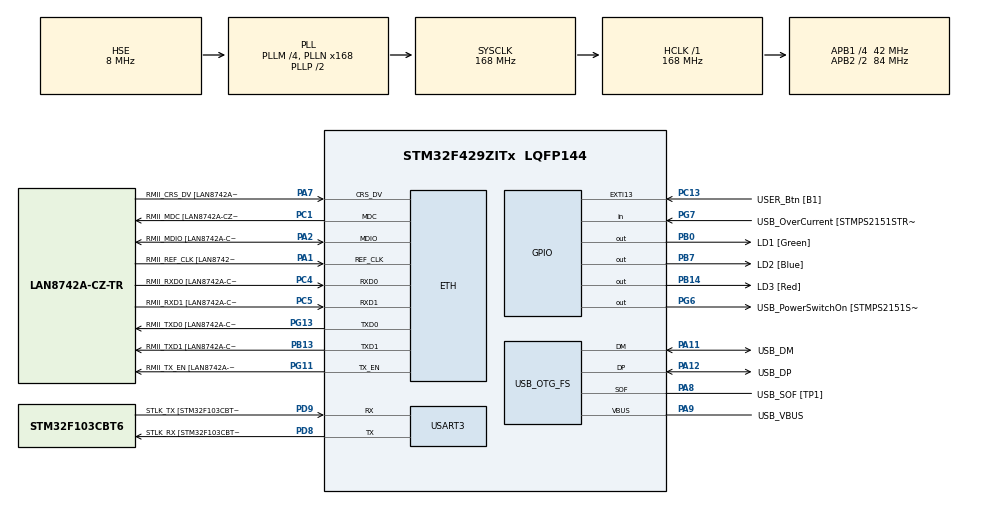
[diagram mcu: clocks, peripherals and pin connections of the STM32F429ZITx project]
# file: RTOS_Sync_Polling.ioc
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ETH.MediaInterface=HAL_ETH_RMII_MODE
ETH.PHY_Name=LAN8742A_PHY_ADDRESS
ETH.PHY_Value=0
ETH.PhyAddress=0
FREERTOS.BinarySemaphores01=myBinarySem01,Dynamic,NULL
FREERTOS.Tasks01=Task1,24,128,StartTask1,Default,NULL,Dynamic,NULL,NULL;Task2,24,128,StartTask2,Default,NULL,Dynamic,NULL,NULL
FREERTOS.configGENERATE_RUN_TIME_STATS=1
FREERTOS.configRECORD_STACK_HIGH_ADDRESS=1
FREERTOS.configUSE_NEWLIB_REENTRANT=1
FREERTOS.configUSE_STATS_FORMATTING_FUNCTIONS=1
Mcu.Family=STM32F4
Mcu.Name=STM32F429ZITx
Mcu.Package=LQFP144
NVIC.EXTI15_10_IRQn=true\:5\:0\:false\:false\:true\:true\:true\:true\:true
NVIC.PriorityGroup=NVIC_PRIORITYGROUP_4
NVIC.TIM2_IRQn=true\:15\:0\:false\:false\:true\:false\:false\:true\:true
NVIC.TimeBase=TIM2_IRQn
NVIC.TimeBaseIP=TIM2
PA1.GPIO_Label=RMII_REF_CLK [LAN8742A-CZ-TR_REFCLK0]
PA1.Mode=RMII
PA1.Signal=ETH_REF_CLK
PA10.GPIO_Label=USB_ID
PA10.Signal=USB_OTG_FS_ID
PA11.GPIO_Label=USB_DM
PA11.Mode=Device_Only
PA11.Signal=USB_OTG_FS_DM
PA12.GPIO_Label=USB_DP
PA12.Mode=Device_Only
PA12.Signal=USB_OTG_FS_DP
PA13.GPIO_Label=TMS
PA13.Mode=Serial_Wire
PA13.Signal=SYS_JTMS-SWDIO
PA14.GPIO_Label=TCK
PA14.Mode=Serial_Wire
PA14.Signal=SYS_JTCK-SWCLK
PA2.GPIO_Label=RMII_MDIO [LAN8742A-CZ-TR_MDIO]
PA2.Mode=RMII
PA2.Signal=ETH_MDIO
PA7.GPIO_Label=RMII_CRS_DV [LAN8742A-CZ-TR_CRS_DV]
PA7.Mode=RMII
PA7.Signal=ETH_CRS_DV
PA8.GPIO_Label=USB_SOF [TP1]
PA8.Mode=Activate_SOF_FS
PA8.Signal=USB_OTG_FS_SOF
PA9.GPIO_Label=USB_VBUS
PA9.Mode=Activate_VBUS
PA9.Signal=USB_OTG_FS_VBUS
PB0.GPIO_Label=LD1 [Green]
PB0.Signal=GPIO_Output
PB13.GPIO_Label=RMII_TXD1 [LAN8742A-CZ-TR_TXD1]
PB13.Mode=RMII
PB13.Signal=ETH_TXD1
PB14.GPIO_Label=LD3 [Red]
PB14.Signal=GPIO_Output
PB7.GPIO_Label=LD2 [Blue]
PB7.Signal=GPIO_Output
PC1.GPIO_Label=RMII_MDC [LAN8742A-CZ-TR_MDC]
PC1.Mode=RMII
PC1.Signal=ETH_MDC
PC13.GPIO_Label=USER_Btn [B1]
PC13.Signal=GPXTI13
PC14/OSC32_IN.Mode=LSE-External-Oscillator
PC14/OSC32_IN.Signal=RCC_OSC32_IN
PC15/OSC32_OUT.Mode=LSE-External-Oscillator
PC15/OSC32_OUT.Signal=RCC_OSC32_OUT
PC4.GPIO_Label=RMII_RXD0 [LAN8742A-CZ-TR_RXD0]
PC4.Mode=RMII
PC4.Signal=ETH_RXD0
PC5.GPIO_Label=RMII_RXD1 [LAN8742A-CZ-TR_RXD1]
PC5.Mode=RMII
PC5.Signal=ETH_RXD1
PD8.GPIO_Label=STLK_RX [STM32F103CBT6_PA3]
PD8.Mode=Asynchronous
PD8.Signal=USART3_TX
PD9.GPIO_Label=STLK_TX [STM32F103CBT6_PA2]
PD9.Mode=Asynchronous
PD9.Signal=USART3_RX
PG11.GPIO_Label=RMII_TX_EN [LAN8742A-CZ-TR_TXEN]
PG11.Mode=RMII
PG11.Signal=ETH_TX_EN
PG13.GPIO_Label=RMII_TXD0 [LAN8742A-CZ-TR_TXD0]
PG13.Mode=RMII
PG13.Signal=ETH_TXD0
PG6.GPIO_Label=USB_PowerSwitchOn [STMPS2151STR_EN]
PG6.Signal=GPIO_Output
PG7.GPIO_Label=USB_OverCurrent [STMPS2151STR_FAULT]
PG7.Signal=GPIO_Input
PH0/OSC_IN.GPIO_Label=MCO [STM32F103CBT6_PA8]
PH0/OSC_IN.Mode=HSE-External-Clock-Source
PH0/OSC_IN.Signal=RCC_OSC_IN
PH1/OSC_OUT.Mode=HSE-External-Clock-Source
PH1/OSC_OUT.Signal=RCC_OSC_OUT
ProjectManager.HeapSize=0x200
ProjectManager.StackSize=0x400
ProjectManager.TargetToolchain=STM32CubeIDE
RCC.48MHZClocksFreq_Value=48000000
RCC.AHBFreq_Value=168000000
RCC.APB1CLKDivider=RCC_HCLK_DIV4
RCC.APB1Freq_Value=42000000
RCC.APB1TimFreq_Value=84000000
RCC.APB2CLKDivider=RCC_HCLK_DIV2
RCC.APB2Freq_Value=84000000
RCC.APB2TimCLKDivider=2
RCC.APB2TimFreq_Value=168000000
RCC.CortexFreq_Value=168000000
RCC.HCLKFreq_Value=168000000
RCC.HSE_VALUE=8000000
RCC.HSI_VALUE=16000000
RCC.PLLM=4
RCC.PLLMUL=RCC_PLL_MUL9
RCC.PLLN=168
RCC.PLLQ=7
RCC.PRESCALERUSB=RCC_USBCLKSOURCE_PLL_DIV1_5
RCC.SYSCLKFreq_VALUE=168000000
RCC.SYSCLKSource=RCC_SYSCLKSOURCE_PLLCLK
RCC.SYSCLKSourceVirtual=RCC_SYSCLKSOURCE_PLLCLK
RCC.USBFreq_Value=48000000
RCC.VCOOutputFreq_Value=336000000
USART3.VirtualMode=VM_ASYNC
USB_OTG_FS.VirtualMode=Device_Only
VP_FREERTOS_VS_CMSIS_V2.Mode=CMSIS_V2
VP_SYS_VS_tim2.Mode=TIM2
board=NUCLEO-F429ZI

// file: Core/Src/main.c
/* USER CODE BEGIN Header */
/**
  ******************************************************************************
  * @file           : main.c
  * @brief          : Main program body
  ******************************************************************************
  * @attention
  *
  * Copyright (c) 2025 STMicroelectronics.
  * All rights reserved.
  *
  * This software is licensed under terms that can be found in the LICENSE file
  * in the root directory of this software component.
  * If no LICENSE file comes with this software, it is provided AS-IS.
  *
  ******************************************************************************
  */
/* USER CODE END Header */
#include "main.h"
#include "string.h"
#include "cmsis_os.h"

/* USER CODE BEGIN Includes */
#include <SEGGER_SYSVIEW.h>
/* USER CODE END Includes */

/* USER CODE BEGIN PD */
int flag = 0;
/* USER CODE END PD */

ETH_TxPacketConfig TxConfig;
ETH_DMADescTypeDef  DMARxDscrTab[ETH_RX_DESC_CNT]; /* Ethernet Rx DMA Descriptors */
ETH_DMADescTypeDef  DMATxDscrTab[ETH_TX_DESC_CNT]; /* Ethernet Tx DMA Descriptors */

ETH_HandleTypeDef heth;

UART_HandleTypeDef huart3;

PCD_HandleTypeDef hpcd_USB_OTG_FS;

/* Definitions for Task1 */
osThreadId_t Task1Handle;
const osThreadAttr_t Task1_attributes = {
  .name = "Task1",
  .stack_size = 128 * 4,
  .priority = (osPriority_t) osPriorityNormal,
};
/* Definitions for Task2 */
osThreadId_t Task2Handle;
const osThreadAttr_t Task2_attributes = {
  .name = "Task2",
  .stack_size = 128 * 4,
  .priority = (osPriority_t) osPriorityNormal,
};
/* Definitions for myBinarySem01 */
osSemaphoreId_t myBinarySem01Handle;
const osSemaphoreAttr_t myBinarySem01_attributes = {
  .name = "myBinarySem01"
};

void SystemClock_Config(void);
static void MX_GPIO_Init(void);
static void MX_ETH_Init(void);
static void MX_USART3_UART_Init(void);
static void MX_USB_OTG_FS_PCD_Init(void);
void StartTask1(void *argument);
void StartTask2(void *argument);

int main(void)
{

  /* MCU Configuration--------------------------------------------------------*/

  /* Reset of all peripherals, Initializes the Flash interface and the Systick. */
  HAL_Init();

  /* Configure the system clock */
  SystemClock_Config();

  /* Initialize all configured peripherals */
  MX_GPIO_Init();
  MX_ETH_Init();
  MX_USART3_UART_Init();
  MX_USB_OTG_FS_PCD_Init();

  /* Init scheduler */
  osKernelInitialize();

  /* Create the semaphores(s) */
  /* creation of myBinarySem01 */
  myBinarySem01Handle = osSemaphoreNew(1, 1, &myBinarySem01_attributes);

  /* Create the thread(s) */
  /* creation of Task1 */
  Task1Handle = osThreadNew(StartTask1, NULL, &Task1_attributes);

  /* creation of Task2 */
  Task2Handle = osThreadNew(StartTask2, NULL, &Task2_attributes);

  /* USER CODE BEGIN RTOS_EVENTS */
  /* add events, ... */
  SEGGER_SYSVIEW_Conf();
  /* USER CODE END RTOS_EVENTS */

  /* Start scheduler */
  osKernelStart();

  /* We should never get here as control is now taken by the scheduler */
  /* Infinite loop */
  while (1)
  {

  }
}

void SystemClock_Config(void)
{
  RCC_OscInitTypeDef RCC_OscInitStruct = {0};
  RCC_ClkInitTypeDef RCC_ClkInitStruct = {0};

  /** Configure the main internal regulator output voltage
  */
  __HAL_RCC_PWR_CLK_ENABLE();
  __HAL_PWR_VOLTAGESCALING_CONFIG(PWR_REGULATOR_VOLTAGE_SCALE1);

  /** Initializes the RCC Oscillators according to the specified parameters
  * in the RCC_OscInitTypeDef structure.
  */
  RCC_OscInitStruct.OscillatorType = RCC_OSCILLATORTYPE_HSE;
  RCC_OscInitStruct.HSEState = RCC_HSE_BYPASS;
  RCC_OscInitStruct.PLL.PLLState = RCC_PLL_ON;
  RCC_OscInitStruct.PLL.PLLSource = RCC_PLLSOURCE_HSE;
  RCC_OscInitStruct.PLL.PLLM = 4;
  RCC_OscInitStruct.PLL.PLLN = 168;
  RCC_OscInitStruct.PLL.PLLP = RCC_PLLP_DIV2;
  RCC_OscInitStruct.PLL.PLLQ = 7;
  if (HAL_RCC_OscConfig(&RCC_OscInitStruct) != HAL_OK)
  {
    Error_Handler();
  }

  /** Initializes the CPU, AHB and APB buses clocks
  */
  RCC_ClkInitStruct.ClockType = RCC_CLOCKTYPE_HCLK|RCC_CLOCKTYPE_SYSCLK
                              |RCC_CLOCKTYPE_PCLK1|RCC_CLOCKTYPE_PCLK2;
  RCC_ClkInitStruct.SYSCLKSource = RCC_SYSCLKSOURCE_PLLCLK;
  RCC_ClkInitStruct.AHBCLKDivider = RCC_SYSCLK_DIV1;
  RCC_ClkInitStruct.APB1CLKDivider = RCC_HCLK_DIV4;
  RCC_ClkInitStruct.APB2CLKDivider = RCC_HCLK_DIV2;

  if (HAL_RCC_ClockConfig(&RCC_ClkInitStruct, FLASH_LATENCY_5) != HAL_OK)
  {
    Error_Handler();
  }
}

static void MX_ETH_Init(void)
{

   static uint8_t MACAddr[6];

  heth.Instance = ETH;
  MACAddr[0] = 0x00;
  MACAddr[1] = 0x80;
  MACAddr[2] = 0xE1;
  MACAddr[3] = 0x00;
  MACAddr[4] = 0x00;
  MACAddr[5] = 0x00;
  heth.Init.MACAddr = &MACAddr[0];
  heth.Init.MediaInterface = HAL_ETH_RMII_MODE;
  heth.Init.TxDesc = DMATxDscrTab;
  heth.Init.RxDesc = DMARxDscrTab;
  heth.Init.RxBuffLen = 1524;

  if (HAL_ETH_Init(&heth) != HAL_OK)
  {
    Error_Handler();
  }

  memset(&TxConfig, 0 , sizeof(ETH_TxPacketConfig));
  TxConfig.Attributes = ETH_TX_PACKETS_FEATURES_CSUM | ETH_TX_PACKETS_FEATURES_CRCPAD;
  TxConfig.ChecksumCtrl = ETH_CHECKSUM_IPHDR_PAYLOAD_INSERT_PHDR_CALC;
  TxConfig.CRCPadCtrl = ETH_CRC_PAD_INSERT;

}

static void MX_USART3_UART_Init(void)
{

  huart3.Instance = USART3;
  huart3.Init.BaudRate = 115200;
  huart3.Init.WordLength = UART_WORDLENGTH_8B;
  huart3.Init.StopBits = UART_STOPBITS_1;
  huart3.Init.Parity = UART_PARITY_NONE;
  huart3.Init.Mode = UART_MODE_TX_RX;
  huart3.Init.HwFlowCtl = UART_HWCONTROL_NONE;
  huart3.Init.OverSampling = UART_OVERSAMPLING_16;
  if (HAL_UART_Init(&huart3) != HAL_OK)
  {
    Error_Handler();
  }

}

static void MX_USB_OTG_FS_PCD_Init(void)
{

  hpcd_USB_OTG_FS.Instance = USB_OTG_FS;
  hpcd_USB_OTG_FS.Init.dev_endpoints = 4;
  hpcd_USB_OTG_FS.Init.speed = PCD_SPEED_FULL;
  hpcd_USB_OTG_FS.Init.dma_enable = DISABLE;
  hpcd_USB_OTG_FS.Init.phy_itface = PCD_PHY_EMBEDDED;
  hpcd_USB_OTG_FS.Init.Sof_enable = ENABLE;
  hpcd_USB_OTG_FS.Init.low_power_enable = DISABLE;
  hpcd_USB_OTG_FS.Init.lpm_enable = DISABLE;
  hpcd_USB_OTG_FS.Init.vbus_sensing_enable = ENABLE;
  hpcd_USB_OTG_FS.Init.use_dedicated_ep1 = DISABLE;
  if (HAL_PCD_Init(&hpcd_USB_OTG_FS) != HAL_OK)
  {
    Error_Handler();
  }

}

static void MX_GPIO_Init(void)
{
  GPIO_InitTypeDef GPIO_InitStruct = {0};

  /* GPIO Ports Clock Enable */
  __HAL_RCC_GPIOC_CLK_ENABLE();
  __HAL_RCC_GPIOH_CLK_ENABLE();
  __HAL_RCC_GPIOA_CLK_ENABLE();
  __HAL_RCC_GPIOB_CLK_ENABLE();
  __HAL_RCC_GPIOD_CLK_ENABLE();
  __HAL_RCC_GPIOG_CLK_ENABLE();

  /*Configure GPIO pin Output Level */
  HAL_GPIO_WritePin(GPIOB, LD1_Pin|LD3_Pin|LD2_Pin, GPIO_PIN_RESET);

  /*Configure GPIO pin Output Level */
  HAL_GPIO_WritePin(USB_PowerSwitchOn_GPIO_Port, USB_PowerSwitchOn_Pin, GPIO_PIN_RESET);

  /*Configure GPIO pin : USER_Btn_Pin */
  GPIO_InitStruct.Pin = USER_Btn_Pin;
  GPIO_InitStruct.Mode = GPIO_MODE_IT_RISING;
  GPIO_InitStruct.Pull = GPIO_NOPULL;
  HAL_GPIO_Init(USER_Btn_GPIO_Port, &GPIO_InitStruct);

  /*Configure GPIO pins : LD1_Pin LD3_Pin LD2_Pin */
  GPIO_InitStruct.Pin = LD1_Pin|LD3_Pin|LD2_Pin;
  GPIO_InitStruct.Mode = GPIO_MODE_OUTPUT_PP;
  GPIO_InitStruct.Pull = GPIO_NOPULL;
  GPIO_InitStruct.Speed = GPIO_SPEED_FREQ_LOW;
  HAL_GPIO_Init(GPIOB, &GPIO_InitStruct);

  /*Configure GPIO pin : USB_PowerSwitchOn_Pin */
  GPIO_InitStruct.Pin = USB_PowerSwitchOn_Pin;
  GPIO_InitStruct.Mode = GPIO_MODE_OUTPUT_PP;
  GPIO_InitStruct.Pull = GPIO_NOPULL;
  GPIO_InitStruct.Speed = GPIO_SPEED_FREQ_LOW;
  HAL_GPIO_Init(USB_PowerSwitchOn_GPIO_Port, &GPIO_InitStruct);

  /*Configure GPIO pin : USB_OverCurrent_Pin */
  GPIO_InitStruct.Pin = USB_OverCurrent_Pin;
  GPIO_InitStruct.Mode = GPIO_MODE_INPUT;
  GPIO_InitStruct.Pull = GPIO_NOPULL;
  HAL_GPIO_Init(USB_OverCurrent_GPIO_Port, &GPIO_InitStruct);

  /* EXTI interrupt init*/
  HAL_NVIC_SetPriority(EXTI15_10_IRQn, 5, 0);
  HAL_NVIC_EnableIRQ(EXTI15_10_IRQn);

}

/* USER CODE BEGIN 4 */
void HAL_GPIO_EXTI_Callback(uint16_t GPIO_Pin)
{
  if (GPIO_Pin == GPIO_PIN_13) // PA0 = Blue user button on NUCLEO-F429ZI
  {
		if (flag == 0){
			flag = 1;
			SEGGER_SYSVIEW_PrintfHost("Semaphore released.\n\r");
		}
  }
}
/* USER CODE END 4 */

void StartTask1(void *argument)
{
  /* USER CODE BEGIN 5 */
	/* Infinite loop */
	for(;;)
	{
		SEGGER_SYSVIEW_PrintfHost("Task1\n\r");
		HAL_GPIO_WritePin(GPIOB, GPIO_PIN_0, 1);
		HAL_GPIO_WritePin(GPIOB, GPIO_PIN_7, 1);
		for (int i=1; i<10; i++){
			HAL_GPIO_TogglePin(GPIOB, GPIO_PIN_0);
			HAL_GPIO_TogglePin(GPIOB, GPIO_PIN_7);
			osDelay(250);
		}
		if (flag == 0){
			flag = 1;
			SEGGER_SYSVIEW_PrintfHost("Semaphore released.\n\r");
		}
		osDelay(1000);
	}
  /* USER CODE END 5 */
}

void StartTask2(void *argument)
{
  /* USER CODE BEGIN StartTask2 */
	/* Infinite loop */
	for(;;)
	{
		SEGGER_SYSVIEW_PrintfHost("Task2\n\r");
		if (flag == 1){
			flag = 0;
			SEGGER_SYSVIEW_PrintfHost("Semaphore acquired.\n\r");
			for (int i=1; i<=8; i++){
				HAL_GPIO_TogglePin(GPIOB, GPIO_PIN_14);
				osDelay(100);
			}
		}
		HAL_GPIO_WritePin(GPIOB, GPIO_PIN_14, 0);
		osDelay(100);
	}
  /* USER CODE END StartTask2 */
}

void HAL_TIM_PeriodElapsedCallback(TIM_HandleTypeDef *htim)
{
  if (htim->Instance == TIM2) {
    HAL_IncTick();
  }
}

void Error_Handler(void)
{
  __disable_irq();
  while (1)
  {
  }
}
